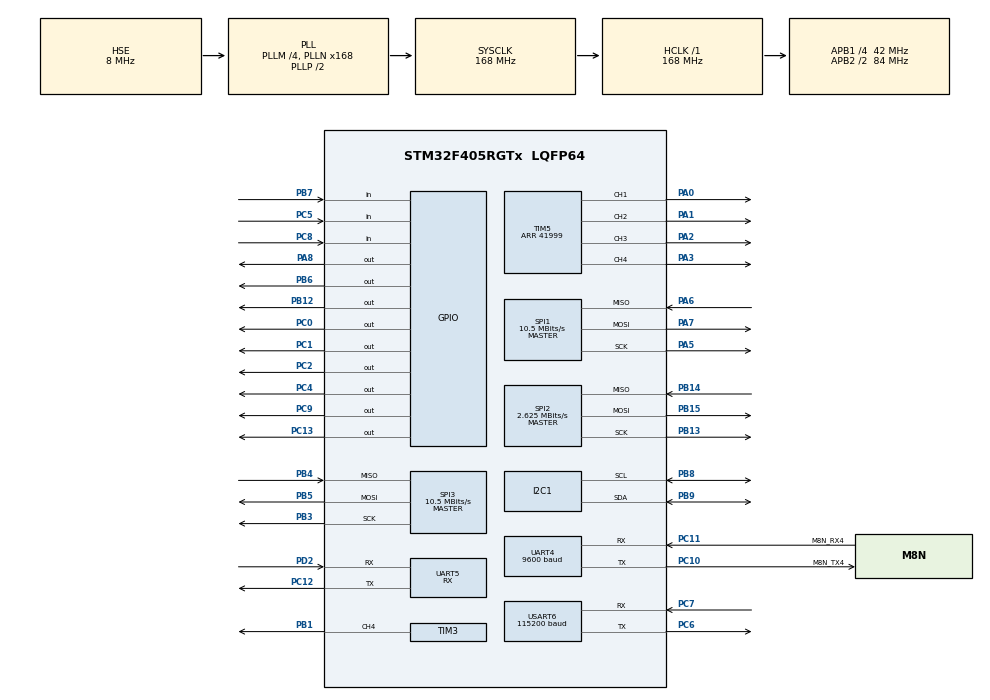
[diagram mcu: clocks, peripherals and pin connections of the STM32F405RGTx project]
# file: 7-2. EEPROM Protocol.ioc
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I2C1.I2C_Mode=I2C_Fast
Mcu.Family=STM32F4
Mcu.Name=STM32F405RGTx
Mcu.Package=LQFP64
NVIC.PriorityGroup=NVIC_PRIORITYGROUP_4
NVIC.UART4_IRQn=true\:0\:0\:false\:false\:true\:true\:true
NVIC.UART5_IRQn=true\:0\:0\:false\:false\:true\:true\:true
NVIC.USART6_IRQn=true\:0\:0\:false\:false\:true\:true\:true
PA0-WKUP.Signal=S_TIM5_CH1
PA1.Signal=S_TIM5_CH2
PA2.Signal=S_TIM5_CH3
PA3.Signal=S_TIM5_CH4
PA5.Mode=Full_Duplex_Master
PA5.Signal=SPI1_SCK
PA6.Mode=Full_Duplex_Master
PA6.Signal=SPI1_MISO
PA7.Mode=Full_Duplex_Master
PA7.Signal=SPI1_MOSI
PA8.Signal=GPIO_Output
PB1.Signal=S_TIM3_CH4
PB12.Signal=GPIO_Output
PB13.Mode=Full_Duplex_Master
PB13.Signal=SPI2_SCK
PB14.Mode=Full_Duplex_Master
PB14.Signal=SPI2_MISO
PB15.Mode=Full_Duplex_Master
PB15.Signal=SPI2_MOSI
PB3.Mode=Full_Duplex_Master
PB3.Signal=SPI3_SCK
PB4.Mode=Full_Duplex_Master
PB4.Signal=SPI3_MISO
PB5.Mode=Full_Duplex_Master
PB5.Signal=SPI3_MOSI
PB6.Signal=GPIO_Output
PB7.Signal=GPIO_Input
PB8.Mode=I2C
PB8.Signal=I2C1_SCL
PB9.Mode=I2C
PB9.Signal=I2C1_SDA
PC0.Signal=GPIO_Output
PC1.Signal=GPIO_Output
PC10.GPIO_Label=M8N_TX4
PC10.Mode=Asynchronous
PC10.Signal=UART4_TX
PC11.GPIO_Label=M8N_RX4
PC11.Mode=Asynchronous
PC11.Signal=UART4_RX
PC12.Mode=Asynchronous
PC12.Signal=UART5_TX
PC13-ANTI_TAMP.PinState=GPIO_PIN_SET
PC13-ANTI_TAMP.Signal=GPIO_Output
PC2.Signal=GPIO_Output
PC4.Signal=GPIO_Output
PC5.Signal=GPIO_Input
PC6.Mode=Asynchronous
PC6.Signal=USART6_TX
PC7.Mode=Asynchronous
PC7.Signal=USART6_RX
PC8.Signal=GPIO_Input
PC9.Signal=GPIO_Output
PD2.Mode=Asynchronous
PD2.Signal=UART5_RX
PH0-OSC_IN.Mode=HSE-External-Oscillator
PH0-OSC_IN.Signal=RCC_OSC_IN
PH1-OSC_OUT.Mode=HSE-External-Oscillator
PH1-OSC_OUT.Signal=RCC_OSC_OUT
ProjectManager.HeapSize=0x200
ProjectManager.StackSize=0x400
ProjectManager.TargetToolchain=STM32CubeIDE
RCC.48MHZClocksFreq_Value=84000000
RCC.AHBFreq_Value=168000000
RCC.APB1CLKDivider=RCC_HCLK_DIV4
RCC.APB1Freq_Value=42000000
RCC.APB1TimFreq_Value=84000000
RCC.APB2CLKDivider=RCC_HCLK_DIV2
RCC.APB2Freq_Value=84000000
RCC.APB2TimFreq_Value=168000000
RCC.CortexFreq_Value=168000000
RCC.HCLKFreq_Value=168000000
RCC.HSE_VALUE=8000000
RCC.HSI_VALUE=16000000
RCC.LSE_VALUE=32768
RCC.PLLM=4
RCC.PLLN=168
RCC.PLLSourceVirtual=RCC_PLLSOURCE_HSE
RCC.SYSCLKFreq_VALUE=168000000
RCC.SYSCLKSource=RCC_SYSCLKSOURCE_PLLCLK
RCC.VCOOutputFreq_Value=336000000
SH.S_TIM3_CH4.0=TIM3_CH4,PWM Generation4 CH4
SH.S_TIM5_CH1.0=TIM5_CH1,PWM Generation1 CH1
SH.S_TIM5_CH2.0=TIM5_CH2,PWM Generation2 CH2
SH.S_TIM5_CH3.0=TIM5_CH3,PWM Generation3 CH3
SH.S_TIM5_CH4.0=TIM5_CH4,PWM Generation4 CH4
SPI1.BaudRatePrescaler=SPI_BAUDRATEPRESCALER_8
SPI1.CLKPhase=SPI_PHASE_2EDGE
SPI1.CLKPolarity=SPI_POLARITY_HIGH
SPI1.CalculateBaudRate=10.5 MBits/s
SPI1.Direction=SPI_DIRECTION_2LINES
SPI1.Mode=SPI_MODE_MASTER
SPI1.VirtualType=VM_MASTER
SPI2.BaudRatePrescaler=SPI_BAUDRATEPRESCALER_16
SPI2.CLKPhase=SPI_PHASE_2EDGE
SPI2.CLKPolarity=SPI_POLARITY_HIGH
SPI2.CalculateBaudRate=2.625 MBits/s
SPI2.Direction=SPI_DIRECTION_2LINES
SPI2.Mode=SPI_MODE_MASTER
SPI2.VirtualType=VM_MASTER
SPI3.BaudRatePrescaler=SPI_BAUDRATEPRESCALER_4
SPI3.CLKPhase=SPI_PHASE_2EDGE
SPI3.CLKPolarity=SPI_POLARITY_HIGH
SPI3.CalculateBaudRate=10.5 MBits/s
SPI3.Direction=SPI_DIRECTION_2LINES
SPI3.Mode=SPI_MODE_MASTER
SPI3.VirtualType=VM_MASTER
TIM3.AutoReloadPreload=TIM_AUTORELOAD_PRELOAD_ENABLE
TIM3.Channel-PWM\ Generation4\ CH4=TIM_CHANNEL_4
TIM3.OCFastMode_PWM-PWM\ Generation4\ CH4=TIM_OCFAST_ENABLE
TIM3.Period=20
TIM3.Prescaler=999
TIM3.Pulse-PWM\ Generation4\ CH4=10
TIM5.AutoReloadPreload=TIM_AUTORELOAD_PRELOAD_ENABLE
TIM5.Channel-PWM\ Generation1\ CH1=TIM_CHANNEL_1
TIM5.Channel-PWM\ Generation2\ CH2=TIM_CHANNEL_2
TIM5.Channel-PWM\ Generation3\ CH3=TIM_CHANNEL_3
TIM5.Channel-PWM\ Generation4\ CH4=TIM_CHANNEL_4
TIM5.OCFastMode_PWM-PWM\ Generation1\ CH1=TIM_OCFAST_ENABLE
TIM5.OCFastMode_PWM-PWM\ Generation2\ CH2=TIM_OCFAST_ENABLE
TIM5.OCFastMode_PWM-PWM\ Generation3\ CH3=TIM_OCFAST_ENABLE
TIM5.OCFastMode_PWM-PWM\ Generation4\ CH4=TIM_OCFAST_ENABLE
TIM5.Period=41999
TIM5.Pulse-PWM\ Generation1\ CH1=0
TIM5.Pulse-PWM\ Generation2\ CH2=0
TIM5.Pulse-PWM\ Generation3\ CH3=0
UART4.BaudRate=9600
UART4.VirtualMode=Asynchronous
UART5.Mode=MODE_RX
UART5.VirtualMode=Asynchronous
USART6.BaudRate=115200
USART6.VirtualMode=VM_ASYNC
VP_TIM3_VS_ClockSourceINT.Mode=Internal
VP_TIM5_VS_ClockSourceINT.Mode=Internal
board=custom

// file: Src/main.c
/* USER CODE BEGIN Header */
/**
  ******************************************************************************
  * @file           : main.c
  * @brief          : Main program body
  ******************************************************************************
  * @attention
  *
  * <h2><center>&copy; Copyright (c) 2019 STMicroelectronics.
  * All rights reserved.</center></h2>
  *
  * This software component is licensed by ST under BSD 3-Clause license,
  * the "License"; You may not use this file except in compliance with the
  * License. You may obtain a copy of the License at:
  *                        opensource.org/licenses/BSD-3-Clause
  *
  ******************************************************************************
  */
/* USER CODE END Header */

#include "main.h"
#include "i2c.h"
#include "spi.h"
#include "tim.h"
#include "usart.h"
#include "gpio.h"

/* USER CODE BEGIN Includes */
#include "bno080.h"
#include "quaternion.h"
#include "icm20602.h"
#include "lps22hh.h"
#include "M8N.h"
#include "FS-iA6B.h"
#include "AT24C08.h"
/* USER CODE END Includes */

/* USER CODE BEGIN PTD */
int _write(int file, char* p, int len)
{
	for(int i=0;i<len;i++)
	{
		while(!LL_USART_IsActiveFlag_TXE(USART6));
		LL_USART_TransmitData8(USART6, *(p+i));
	}
	return len;
}
/* USER CODE END PTD */

/* USER CODE BEGIN PV */
extern uint8_t uart6_rx_flag;
extern uint8_t uart6_rx_data;

extern uint8_t m8n_rx_buf[36];
extern uint8_t m8n_rx_cplt_flag;

extern uint8_t ibus_rx_buf[32];
extern uint8_t ibus_rx_cplt_flag;
/* USER CODE END PV */

void SystemClock_Config(void);
/* USER CODE BEGIN PFP */
int Is_iBus_Throttle_Min(void);
void ESC_Calibration(void);
int Is_iBus_Received(void);
/* USER CODE END PFP */

int main(void)
{
  /* USER CODE BEGIN 1 */
	float q[4];
	float quatRadianAccuracy;
	unsigned char buf_read[16] = {1};
	unsigned char buf_write[16] = {1, 2, 3, 4, 5, 6, 7, 8, 9, 10, 11, 12, 13, 14, 15, 16};
  /* USER CODE END 1 */

  /* MCU Configuration--------------------------------------------------------*/

  /* Reset of all peripherals, Initializes the Flash interface and the Systick. */
  HAL_Init();

  /* Configure the system clock */
  SystemClock_Config();

  /* Initialize all configured peripherals */
  MX_GPIO_Init();
  MX_TIM3_Init();
  MX_USART6_UART_Init();
  MX_SPI2_Init();
  MX_SPI1_Init();
  MX_SPI3_Init();
  MX_UART4_Init();
  MX_UART5_Init();
  MX_TIM5_Init();
  MX_I2C1_Init();
  /* USER CODE BEGIN 2 */
  LL_TIM_EnableCounter(TIM3);

  LL_USART_EnableIT_RXNE(USART6);
  LL_USART_EnableIT_RXNE(UART4);
  LL_USART_EnableIT_RXNE(UART5);

  BNO080_Initialization();
  BNO080_enableRotationVector(2500);

  ICM20602_Initialization();
  LPS22HH_Initialization();
  M8N_Initialization();

  LL_TIM_EnableCounter(TIM5);
  LL_TIM_CC_EnableChannel(TIM5, LL_TIM_CHANNEL_CH1);
  LL_TIM_CC_EnableChannel(TIM5, LL_TIM_CHANNEL_CH2);
  LL_TIM_CC_EnableChannel(TIM5, LL_TIM_CHANNEL_CH3);
  LL_TIM_CC_EnableChannel(TIM5, LL_TIM_CHANNEL_CH4);

//  while(Is_iBus_Received() == 0)
//  {
//	  LL_TIM_CC_EnableChannel(TIM3, LL_TIM_CHANNEL_CH4);
//
//	  TIM3->PSC = 3000;
//	  HAL_Delay(200);
//	  LL_TIM_CC_DisableChannel(TIM3, LL_TIM_CHANNEL_CH4);
//	  HAL_Delay(200);
//  }
//  if(iBus.SwC == 2000)
//  {
//	  LL_TIM_CC_EnableChannel(TIM3, LL_TIM_CHANNEL_CH4);
//
//	  TIM3->PSC = 1500;
//	  HAL_Delay(200);
//	  TIM3->PSC = 2000;
//	  HAL_Delay(200);
//	  TIM3->PSC = 1500;
//	  HAL_Delay(200);
//	  TIM3->PSC = 2000;
//	  HAL_Delay(200);
//	  LL_TIM_CC_DisableChannel(TIM3, LL_TIM_CHANNEL_CH4);
//
//	  ESC_Calibration();
//	  while(iBus.SwC != 1000)
//	  {
//		  Is_iBus_Received();
//		  LL_TIM_CC_EnableChannel(TIM3, LL_TIM_CHANNEL_CH4);
//
//		  TIM3->PSC = 1500;
//		  HAL_Delay(200);
//		  TIM3->PSC = 2000;
//		  HAL_Delay(200);
//		  LL_TIM_CC_DisableChannel(TIM3, LL_TIM_CHANNEL_CH4);
//	  }
//  }

//  while(Is_iBus_Throttle_Min() == 0)
//  {
//	  LL_TIM_CC_EnableChannel(TIM3, LL_TIM_CHANNEL_CH4);
//
//	  TIM3->PSC = 1000;
//	  HAL_Delay(70);
//	  LL_TIM_CC_DisableChannel(TIM3, LL_TIM_CHANNEL_CH4);
//	  HAL_Delay(70);
//  }

  //EP_PIDGain_Write(0, 1.1, 2.2, 3.3);
  float p = 0.0, i = 0.0, d = 0.0;
  EP_PIDGain_Read(0, &p, &i, &d);

  printf("%f %f %f", p, i, d);

  LL_TIM_CC_EnableChannel(TIM3, LL_TIM_CHANNEL_CH4);

  TIM3->PSC = 2000;
  HAL_Delay(100);
  TIM3->PSC = 1500;
  HAL_Delay(100);
  TIM3->PSC = 1000;
  HAL_Delay(100);

  LL_TIM_CC_DisableChannel(TIM3, LL_TIM_CHANNEL_CH4);

  printf("Start\n");

  /* USER CODE END 2 */

  /* Infinite loop */
  while (1)
  {

    /* USER CODE BEGIN 3 */
//	  if(BNO080_dataAvailable() == 1)
//	  {
//		  LL_GPIO_TogglePin(GPIOC, LL_GPIO_PIN_0);
//
//		  q[0] = BNO080_getQuatI();
//		  q[1] = BNO080_getQuatJ();
//		  q[2] = BNO080_getQuatK();
//		  q[3] = BNO080_getQuatReal();
//		  quatRadianAccuracy = BNO080_getQuatRadianAccuracy();
//
//		  Quaternion_Update(&q[0]);
//
//		  //printf("%d,%d\n", (int)(BNO080_Roll*100), (int)(BNO080_Pitch*100));
//		  printf("%d\n", (int)(BNO080_Yaw*100));
//	  }

//	  if(ICM20602_DataReady() == 1)
//	  {
//		  LL_GPIO_TogglePin(GPIOC, LL_GPIO_PIN_1);
//
//		  ICM20602_Get3AxisGyroRawData(&ICM20602.gyro_x_raw);
//
//		  ICM20602.gyro_x = ICM20602.gyro_x_raw * 2000.f / 32768.f;
//		  ICM20602.gyro_y = ICM20602.gyro_y_raw * 2000.f / 32768.f;
//		  ICM20602.gyro_z = ICM20602.gyro_z_raw * 2000.f / 32768.f;
//
//		  printf("%d,%d,%d\n", ICM20602.gyro_x_raw, ICM20602.gyro_y_raw, ICM20602.gyro_z_raw);
//		  //printf("%d,%d,%d\n", (int)(ICM20602.gyro_x*100), (int)(ICM20602.gyro_y*100), (int)(ICM20602.gyro_z*100));
//	  }

//	  if(LPS22HH_DataReady() == 1)
//	  {
//		  LPS22HH_GetPressure(&LPS22HH.pressure_raw);
//		  LPS22HH_GetTemperature(&LPS22HH.temperature_raw);
//
//		  LPS22HH.baroAlt = getAltitude2(LPS22HH.pressure_raw/4096.f, LPS22HH.temperature_raw/100.f);
//
//#define X 0.90f
//		  LPS22HH.baroAltFilt = LPS22HH.baroAltFilt * X + LPS22HH.baroAlt * (1.0f - X);
//
//		  printf("%d,%d\n", (int)(LPS22HH.baroAlt*100), (int)(LPS22HH.baroAltFilt*100));
//	  }

//	  if(m8n_rx_cplt_flag == 1)
//	  {
//		  m8n_rx_cplt_flag = 0;
//
//		  if(M8N_UBX_CHKSUM_Check(&m8n_rx_buf[0], 36) == 1)
//		  {
//			  LL_GPIO_TogglePin(GPIOC, LL_GPIO_PIN_2);
//			  M8N_UBX_NAV_POSLLH_Parsing(&m8n_rx_buf[0], &posllh);
//
//			  printf("LAT: %ld\tLON: %ld\tHeight: %ld\n", posllh.lat, posllh.lon, posllh.height);
//		  }
//	  }

//	  if(ibus_rx_cplt_flag == 1)
//	  {
//		  ibus_rx_cplt_flag = 0;
//		  if(iBus_Check_CHKSUM(&ibus_rx_buf[0], 32) == 1)
//		  {
//			  LL_GPIO_TogglePin(GPIOC, LL_GPIO_PIN_2);
//
//			  iBus_Parsing(&ibus_rx_buf[0], &iBus);
//			  if(iBus_isActiveFailsafe(&iBus) == 1)
//			  {
//				  LL_TIM_CC_EnableChannel(TIM3, LL_TIM_CHANNEL_CH4);
//			  }
//			  else
//			  {
//				  LL_TIM_CC_DisableChannel(TIM3, LL_TIM_CHANNEL_CH4);
//			  }
////			  printf("%d\t%d\t%d\t%d\t%d\t%d\n",
////					  iBus.RH, iBus.RV, iBus.LV, iBus.LH, iBus.SwA, iBus.SwC);
////			  HAL_Delay(100);
//		  }
//	  }

  }
  /* USER CODE END 3 */
}

void SystemClock_Config(void)
{
  RCC_OscInitTypeDef RCC_OscInitStruct = {0};
  RCC_ClkInitTypeDef RCC_ClkInitStruct = {0};

  /** Configure the main internal regulator output voltage
  */
  __HAL_RCC_PWR_CLK_ENABLE();
  __HAL_PWR_VOLTAGESCALING_CONFIG(PWR_REGULATOR_VOLTAGE_SCALE1);
  /** Initializes the CPU, AHB and APB busses clocks
  */
  RCC_OscInitStruct.OscillatorType = RCC_OSCILLATORTYPE_HSE;
  RCC_OscInitStruct.HSEState = RCC_HSE_ON;
  RCC_OscInitStruct.PLL.PLLState = RCC_PLL_ON;
  RCC_OscInitStruct.PLL.PLLSource = RCC_PLLSOURCE_HSE;
  RCC_OscInitStruct.PLL.PLLM = 4;
  RCC_OscInitStruct.PLL.PLLN = 168;
  RCC_OscInitStruct.PLL.PLLP = RCC_PLLP_DIV2;
  RCC_OscInitStruct.PLL.PLLQ = 4;
  if (HAL_RCC_OscConfig(&RCC_OscInitStruct) != HAL_OK)
  {
    Error_Handler();
  }
  /** Initializes the CPU, AHB and APB busses clocks
  */
  RCC_ClkInitStruct.ClockType = RCC_CLOCKTYPE_HCLK|RCC_CLOCKTYPE_SYSCLK
                              |RCC_CLOCKTYPE_PCLK1|RCC_CLOCKTYPE_PCLK2;
  RCC_ClkInitStruct.SYSCLKSource = RCC_SYSCLKSOURCE_PLLCLK;
  RCC_ClkInitStruct.AHBCLKDivider = RCC_SYSCLK_DIV1;
  RCC_ClkInitStruct.APB1CLKDivider = RCC_HCLK_DIV4;
  RCC_ClkInitStruct.APB2CLKDivider = RCC_HCLK_DIV2;

  if (HAL_RCC_ClockConfig(&RCC_ClkInitStruct, FLASH_LATENCY_5) != HAL_OK)
  {
    Error_Handler();
  }
}

/* USER CODE BEGIN 4 */
int Is_iBus_Throttle_Min(void)
{
	if(ibus_rx_cplt_flag == 1)
	{
		ibus_rx_cplt_flag = 0;
		if(iBus_Check_CHKSUM(&ibus_rx_buf[0], 32) == 1)
		{
			iBus_Parsing(&ibus_rx_buf[0], &iBus);
			if(iBus.LV < 1010) return 1;
		}
	}

	return 0;
}

void ESC_Calibration(void)
{
	  TIM5->CCR1 = 21000;
	  TIM5->CCR2 = 21000;
	  TIM5->CCR3 = 21000;
	  TIM5->CCR4 = 21000;
	  HAL_Delay(7000);
	  TIM5->CCR1 = 10500;
	  TIM5->CCR2 = 10500;
	  TIM5->CCR3 = 10500;
	  TIM5->CCR4 = 10500;
	  HAL_Delay(8000);
}

int Is_iBus_Received(void)
{
	if(ibus_rx_cplt_flag == 1)
	{
		ibus_rx_cplt_flag = 0;
		if(iBus_Check_CHKSUM(&ibus_rx_buf[0], 32) == 1)
		{
			iBus_Parsing(&ibus_rx_buf[0], &iBus);
			return 1;
		}
	}

	return 0;
}
/* USER CODE END 4 */

void Error_Handler(void)
{
}

/************************ (C) COPYRIGHT STMicroelectronics *****END OF FILE****/
